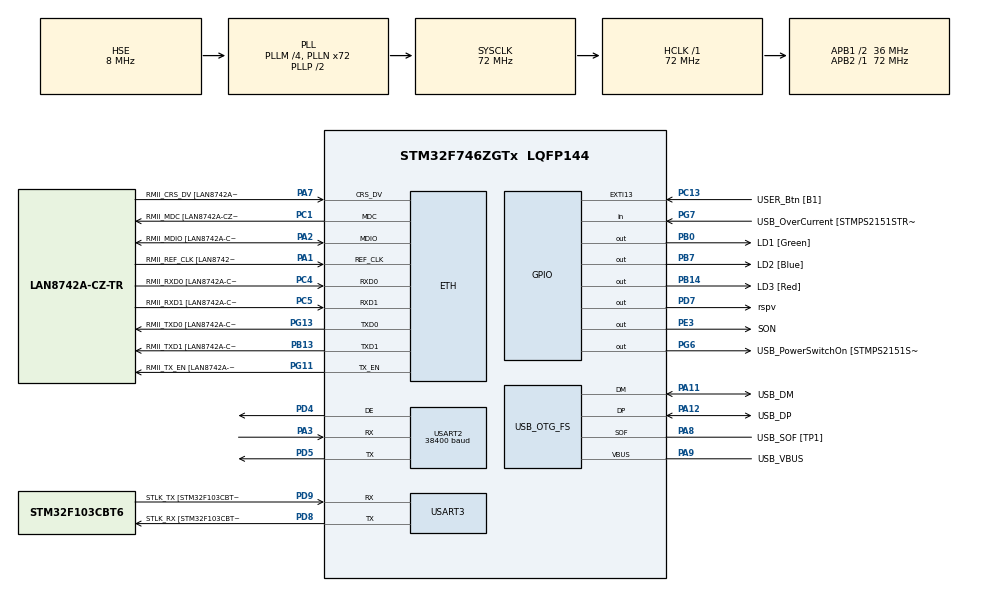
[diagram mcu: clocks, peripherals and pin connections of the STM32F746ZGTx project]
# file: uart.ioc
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Dma.Request0=USART2_RX
Dma.Request1=USART2_TX
Dma.USART2_RX.0.Direction=DMA_PERIPH_TO_MEMORY
Dma.USART2_RX.0.FIFOMode=DMA_FIFOMODE_DISABLE
Dma.USART2_RX.0.Instance=DMA1_Stream5
Dma.USART2_RX.0.MemDataAlignment=DMA_MDATAALIGN_BYTE
Dma.USART2_RX.0.MemInc=DMA_MINC_ENABLE
Dma.USART2_RX.0.Mode=DMA_NORMAL
Dma.USART2_RX.0.PeriphDataAlignment=DMA_PDATAALIGN_BYTE
Dma.USART2_RX.0.PeriphInc=DMA_PINC_DISABLE
Dma.USART2_RX.0.Priority=DMA_PRIORITY_LOW
Dma.USART2_TX.1.Direction=DMA_MEMORY_TO_PERIPH
Dma.USART2_TX.1.FIFOMode=DMA_FIFOMODE_DISABLE
Dma.USART2_TX.1.Instance=DMA1_Stream6
Dma.USART2_TX.1.MemDataAlignment=DMA_MDATAALIGN_BYTE
Dma.USART2_TX.1.MemInc=DMA_MINC_ENABLE
Dma.USART2_TX.1.Mode=DMA_NORMAL
Dma.USART2_TX.1.PeriphDataAlignment=DMA_PDATAALIGN_BYTE
Dma.USART2_TX.1.PeriphInc=DMA_PINC_DISABLE
Dma.USART2_TX.1.Priority=DMA_PRIORITY_LOW
ETH.MediaInterface=ETH_MEDIA_INTERFACE_RMII
ETH.PHY_Name=LAN8742A_PHY_ADDRESS
ETH.PHY_Value=0
ETH.PhyAddress=0
Mcu.Family=STM32F7
Mcu.Name=STM32F746ZGTx
Mcu.Package=LQFP144
NVIC.DMA1_Stream5_IRQn=true\:0\:0\:false\:false\:true\:false\:true
NVIC.DMA1_Stream6_IRQn=true\:0\:0\:false\:false\:true\:false\:true
NVIC.EXTI15_10_IRQn=true\:0\:0\:false\:false\:true\:true\:true
NVIC.PriorityGroup=NVIC_PRIORITYGROUP_4
NVIC.USART2_IRQn=true\:0\:0\:false\:false\:true\:true\:true
PA1.GPIO_Label=RMII_REF_CLK [LAN8742A-CZ-TR_REFCLK0]
PA1.Mode=RMII
PA1.Signal=ETH_REF_CLK
PA10.GPIO_Label=USB_ID
PA10.Signal=USB_OTG_FS_ID
PA11.GPIO_Label=USB_DM
PA11.Mode=Device_Only
PA11.Signal=USB_OTG_FS_DM
PA12.GPIO_Label=USB_DP
PA12.Mode=Device_Only
PA12.Signal=USB_OTG_FS_DP
PA13.GPIO_Label=TMS
PA13.Mode=Serial_Wire
PA13.Signal=SYS_JTMS-SWDIO
PA14.GPIO_Label=TCK
PA14.Mode=Serial_Wire
PA14.Signal=SYS_JTCK-SWCLK
PA2.GPIO_Label=RMII_MDIO [LAN8742A-CZ-TR_MDIO]
PA2.Mode=RMII
PA2.Signal=ETH_MDIO
PA3.Mode=Asynchronous
PA3.Signal=USART2_RX
PA7.GPIO_Label=RMII_CRS_DV [LAN8742A-CZ-TR_CRS_DV]
PA7.Mode=RMII
PA7.Signal=ETH_CRS_DV
PA8.GPIO_Label=USB_SOF [TP1]
PA8.Mode=Activate_SOF_FS
PA8.Signal=USB_OTG_FS_SOF
PA9.GPIO_Label=USB_VBUS
PA9.Mode=Activate_VBUS
PA9.Signal=USB_OTG_FS_VBUS
PB0.GPIO_Label=LD1 [Green]
PB0.Signal=GPIO_Output
PB13.GPIO_Label=RMII_TXD1 [LAN8742A-CZ-TR_TXD1]
PB13.Mode=RMII
PB13.Signal=ETH_TXD1
PB14.GPIO_Label=LD3 [Red]
PB14.Signal=GPIO_Output
PB3.GPIO_Label=SW0
PB3.Signal=SYS_JTDO-SWO
PB7.GPIO_Label=LD2 [Blue]
PB7.Signal=GPIO_Output
PC1.GPIO_Label=RMII_MDC [LAN8742A-CZ-TR_MDC]
PC1.Mode=RMII
PC1.Signal=ETH_MDC
PC13.GPIO_Label=USER_Btn [B1]
PC13.Signal=GPXTI13
PC14/OSC32_IN.Mode=LSE-External-Oscillator
PC14/OSC32_IN.Signal=RCC_OSC32_IN
PC15/OSC32_OUT.Mode=LSE-External-Oscillator
PC15/OSC32_OUT.Signal=RCC_OSC32_OUT
PC4.GPIO_Label=RMII_RXD0 [LAN8742A-CZ-TR_RXD0]
PC4.Mode=RMII
PC4.Signal=ETH_RXD0
PC5.GPIO_Label=RMII_RXD1 [LAN8742A-CZ-TR_RXD1]
PC5.Mode=RMII
PC5.Signal=ETH_RXD1
PD4.Mode=Hardware Flow Control (RS485)
PD4.Signal=USART2_DE
PD5.Mode=Asynchronous
PD5.Signal=USART2_TX
PD7.GPIO_Label=rspv
PD7.GPIO_PuPd=GPIO_PULLDOWN
PD7.Signal=GPIO_Output
PD8.GPIO_Label=STLK_RX [STM32F103CBT6_PA3]
PD8.Mode=Asynchronous
PD8.Signal=USART3_TX
PD9.GPIO_Label=STLK_TX [STM32F103CBT6_PA2]
PD9.Mode=Asynchronous
PD9.Signal=USART3_RX
PE3.GPIO_Label=SON
PE3.GPIO_PuPd=GPIO_PULLDOWN
PE3.Signal=GPIO_Output
PG11.GPIO_Label=RMII_TX_EN [LAN8742A-CZ-TR_TXEN]
PG11.Mode=RMII
PG11.Signal=ETH_TX_EN
PG13.GPIO_Label=RMII_TXD0 [LAN8742A-CZ-TR_TXD0]
PG13.Mode=RMII
PG13.Signal=ETH_TXD0
PG6.GPIO_Label=USB_PowerSwitchOn [STMPS2151STR_EN]
PG6.Signal=GPIO_Output
PG7.GPIO_Label=USB_OverCurrent [STMPS2151STR_FAULT]
PG7.Signal=GPIO_Input
PH0/OSC_IN.GPIO_Label=MCO [STM32F103CBT6_PA8]
PH0/OSC_IN.Mode=HSE-External-Clock-Source
PH0/OSC_IN.Signal=RCC_OSC_IN
PH1/OSC_OUT.Mode=HSE-External-Clock-Source
PH1/OSC_OUT.Signal=RCC_OSC_OUT
ProjectManager.HeapSize=0x200
ProjectManager.StackSize=0x400
ProjectManager.TargetToolchain=STM32CubeIDE
RCC.48MHZClocksFreq_Value=24000000
RCC.AHBFreq_Value=72000000
RCC.APB1CLKDivider=RCC_HCLK_DIV2
RCC.APB1Freq_Value=36000000
RCC.APB1TimFreq_Value=72000000
RCC.APB2Freq_Value=72000000
RCC.APB2TimFreq_Value=72000000
RCC.CortexFreq_Value=72000000
RCC.HCLKFreq_Value=72000000
RCC.HSE_VALUE=8000000
RCC.HSI_VALUE=16000000
RCC.PLLM=4
RCC.PLLMUL=RCC_PLL_MUL9
RCC.PLLN=72
RCC.PLLQ=3
RCC.PRESCALERUSB=RCC_USBCLKSOURCE_PLL_DIV1_5
RCC.SYSCLKFreq_VALUE=72000000
RCC.SYSCLKSource=RCC_SYSCLKSOURCE_PLLCLK
RCC.SYSCLKSourceVirtual=RCC_SYSCLKSOURCE_PLLCLK
RCC.USBFreq_Value=48000000
RCC.VCOOutputFreq_Value=144000000
USART2.BaudRate=38400
USART2.Parity=PARITY_NONE
USART2.VirtualMode-Asynchronous=VM_ASYNC
USART2.VirtualMode-Hardware\ Flow\ Control\ (RS485)=VM_ASYNC
USART3.VirtualMode-Asynchronous=VM_ASYNC
USB_OTG_FS.VirtualMode=Device_Only
board=NUCLEO-F746ZG

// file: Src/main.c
/* USER CODE BEGIN Header */
/**
  ******************************************************************************
  * @file           : main.c
  * @brief          : Main program body
  ******************************************************************************
  * @attention
  *
  * <h2><center>&copy; Copyright (c) 2021 STMicroelectronics.
  * All rights reserved.</center></h2>
  *
  * This software component is licensed by ST under BSD 3-Clause license,
  * the "License"; You may not use this file except in compliance with the
  * License. You may obtain a copy of the License at:
  *                        opensource.org/licenses/BSD-3-Clause
  *
  ******************************************************************************
  */
/* USER CODE END Header */
#include "main.h"

/* USER CODE BEGIN Includes */
#include "stdbool.h"
#include <stdio.h>
#include <stdint.h>
#include <string.h>
typedef uint16_t WORD;
typedef uint8_t BYTE;
#define MIN_SPEED_VAL 390
/* USER CODE END Includes */

ETH_HandleTypeDef heth;

UART_HandleTypeDef huart2;
UART_HandleTypeDef huart3;
DMA_HandleTypeDef hdma_usart2_rx;
DMA_HandleTypeDef hdma_usart2_tx;

PCD_HandleTypeDef hpcd_USB_OTG_FS;

void SystemClock_Config(void);
static void MX_GPIO_Init(void);
static void MX_DMA_Init(void);
static void MX_ETH_Init(void);
static void MX_USART2_UART_Init(void);
static void MX_USART3_UART_Init(void);
static void MX_USB_OTG_FS_PCD_Init(void);
/* USER CODE BEGIN PFP */
unsigned int CRC16_2(unsigned char* buf, int len);
void createMessage(unsigned char *buf, int w_r, int RegNum, int Rval, int val);
/* USER CODE END PFP */

int main(void)
{
	/* MCU Configuration--------------------------------------------------------*/

	/* Reset of all peripherals, Initializes the Flash interface and the Systick. */
	HAL_Init();

	/* Configure the system clock */
	SystemClock_Config();

	/* Initialize all configured peripherals */
	MX_GPIO_Init();
	MX_DMA_Init();
	//MX_ETH_Init();
	MX_USART2_UART_Init();
	MX_USART3_UART_Init();
	MX_USB_OTG_FS_PCD_Init();

	unsigned char msgRead[8];
	int i, brute, counter=0, counterError=0;

	uint8_t RxDat[7];
	uint8_t RxDat_w[8];
	uint8_t write_vals[50]={};
	uint16_t value_speed;
	HAL_GPIO_WritePin(rspv_GPIO_Port, rspv_Pin, GPIO_PIN_SET);

	//стоп
	//{ 0x01, 0x06, 0x01, 0x04, 0x00, 0x00 }
	//запуск
	//{ 0x01, 0x06, 0x01, 0x04, 0x00, 0x01 }

	//{ 0x01, 0x03, 0x01, 0x20, 0x00, 0x01 };
	//Чтение регистров Px-x.  Второй байт команда 03
	//{ 0x01, 0x03, 0x01, 0x03, 0x00, 0x01 }
	// 3й байт P№ ; 4й байт -"номер регистра"

	//Запись
	//2й байт команда записи 3й байт P№ ; 4й байт -"номер регистра" ; 5-6 значение
	//{ 0x01, 0x06, 0x01, 0x04, 0x00, 0x03 }

	//регистр Fn1 1281(dec) - 501(hex)
	//{ 0x01, 0x03, 0x05, 0x01, 0x00, 0x01 };

    while (1)
    {
    	HAL_GPIO_TogglePin(GPIOB,LD1_Pin);
    	unsigned int crc;
    	unsigned char crcmsg[8];

    	//Если есть сомнения в формировании отправленного сообщения
    	//    		unsigned char first, second;
    	//    		int i;
    	//
    	//    		unsigned char msg[] = { 0x01, 0x06, 0x01, 0x04, 0x00, 0x01 };
    	//    		size_t msg_size = sizeof(msg);
    	//
    	//    		crc = CRC16_2(msg, msg_size);
    	//
    	//    		for (i=0;i<6;i++){
    	//    			crcmsg[i]=msg[i];
    	//    		}
    	//    		first = (crc >> 0) & 0xff;
    	//    		second = (crc >> 8) & 0xff;
    	//    		crcmsg[6] = first;
    	//    		crcmsg[7] = second;
    	HAL_GPIO_WritePin(GPIOB,LD2_Pin, GPIO_PIN_RESET);
    	HAL_GPIO_WritePin(GPIOB,LD3_Pin, GPIO_PIN_RESET);

    	//запуск и остановка
		createMessage(crcmsg, 6, 1, 4 ,1);
		uint8_t* txdata = (uint8_t*)crcmsg;
		HAL_UART_Transmit_DMA(&huart2, (uint8_t*)txdata, 8);
		HAL_UART_Receive_DMA(&huart2, (uint8_t*)RxDat_w, 8);
		HAL_Delay(1000);
		createMessage(crcmsg, 6, 1, 4 ,0);
		HAL_UART_Transmit_DMA(&huart2, (uint8_t*)txdata, 8);
		HAL_UART_Receive_DMA(&huart2, (uint8_t*)RxDat_w, 8);
		HAL_Delay(4000);

		createMessage(crcmsg, 6, 2, 2 ,281); //изменение значения регистра p2-2
		HAL_UART_Transmit_DMA(&huart2, (uint8_t*)txdata, 8);
		HAL_UART_Receive_DMA(&huart2, (uint8_t*)RxDat_w, 8);
		HAL_Delay(1000);

		//запуск двигателя для проверки считывания скорости
		createMessage(crcmsg, 6, 1, 4 ,1);
		HAL_UART_Transmit_DMA(&huart2, (uint8_t*)txdata, 8);
		HAL_UART_Receive_DMA(&huart2, (uint8_t*)RxDat_w, 8);
		HAL_Delay(1000);

		createMessage(crcmsg, 3, 5, 8 ,1); //читаем регистр F8
		HAL_UART_Transmit_DMA(&huart2, (uint8_t*)txdata, 8);
		HAL_UART_Receive_DMA(&huart2, (uint8_t*)RxDat, 7);
		HAL_Delay(1000);

		value_speed = RxDat[3] << 8 | RxDat[4];

		//проверка вращения. У меня в f8 при движении двигателя устанавливается 400. Сравнивать со своим значением
		if (value_speed>=MIN_SPEED_VAL){
			for(i=0;i<10;i++){
				HAL_GPIO_TogglePin(GPIOB,LD2_Pin);
				HAL_Delay(500);}
		}
			printf("Hello_");
		HAL_Delay(10000);

		//проверка регистров P
		for (brute=0; brute<=12;brute++){
			if (brute==12){
				printf("%d", brute);
			}
			createMessage(crcmsg, 3, 1, brute ,1);
			HAL_UART_Transmit_DMA(&huart2, (uint8_t*)txdata, 8);
			HAL_UART_Receive_DMA(&huart2, (uint8_t*)RxDat, 7);
			HAL_Delay(500);
			//если пришел правильный ответ
			if (RxDat[0]==1 && RxDat[1]==3){
//				HAL_GPIO_TogglePin(GPIOB,LD3_Pin);
//				HAL_Delay(100);
				write_vals[brute]=RxDat[4];
				}
			//если пришел ответ правильный, но сдвинутый на 1 байт
			else if (RxDat[0]==247 && RxDat[0]==1){
				//uint8_t* subRxDat = RxDat + 1;
				uint8_t subRxDat[8];
				for(i = 0; i < 8; i++) {
					subRxDat[i] = RxDat[i+1];
					}
				if (subRxDat[0]==1 && subRxDat[1]==3){
//					HAL_GPIO_TogglePin(GPIOB,LD3_Pin);
//					HAL_Delay(100);
//					HAL_GPIO_TogglePin(GPIOB,LD3_Pin);
					write_vals[brute]=subRxDat[4];
					}
				else {
//					HAL_GPIO_WritePin(GPIOB,LD3_Pin, GPIO_PIN_SET);
//					HAL_Delay(2000);
					write_vals[brute]=-1;
					counterError++;
					}
				}

			}

    }
  /* USER CODE END 3 */
}

void SystemClock_Config(void)
{
  RCC_OscInitTypeDef RCC_OscInitStruct = {0};
  RCC_ClkInitTypeDef RCC_ClkInitStruct = {0};
  RCC_PeriphCLKInitTypeDef PeriphClkInitStruct = {0};

  /** Configure LSE Drive Capability
  */
  HAL_PWR_EnableBkUpAccess();
  /** Configure the main internal regulator output voltage
  */
  __HAL_RCC_PWR_CLK_ENABLE();
  __HAL_PWR_VOLTAGESCALING_CONFIG(PWR_REGULATOR_VOLTAGE_SCALE3);
  /** Initializes the RCC Oscillators according to the specified parameters
  * in the RCC_OscInitTypeDef structure.
  */
  RCC_OscInitStruct.OscillatorType = RCC_OSCILLATORTYPE_HSE;
  RCC_OscInitStruct.HSEState = RCC_HSE_BYPASS;
  RCC_OscInitStruct.PLL.PLLState = RCC_PLL_ON;
  RCC_OscInitStruct.PLL.PLLSource = RCC_PLLSOURCE_HSE;
  RCC_OscInitStruct.PLL.PLLM = 4;
  RCC_OscInitStruct.PLL.PLLN = 72;
  RCC_OscInitStruct.PLL.PLLP = RCC_PLLP_DIV2;
  RCC_OscInitStruct.PLL.PLLQ = 3;
  if (HAL_RCC_OscConfig(&RCC_OscInitStruct) != HAL_OK)
  {
    Error_Handler();
  }
  /** Initializes the CPU, AHB and APB buses clocks
  */
  RCC_ClkInitStruct.ClockType = RCC_CLOCKTYPE_HCLK|RCC_CLOCKTYPE_SYSCLK
                              |RCC_CLOCKTYPE_PCLK1|RCC_CLOCKTYPE_PCLK2;
  RCC_ClkInitStruct.SYSCLKSource = RCC_SYSCLKSOURCE_PLLCLK;
  RCC_ClkInitStruct.AHBCLKDivider = RCC_SYSCLK_DIV1;
  RCC_ClkInitStruct.APB1CLKDivider = RCC_HCLK_DIV2;
  RCC_ClkInitStruct.APB2CLKDivider = RCC_HCLK_DIV1;

  if (HAL_RCC_ClockConfig(&RCC_ClkInitStruct, FLASH_LATENCY_7) != HAL_OK)
  {
    Error_Handler();
  }
  PeriphClkInitStruct.PeriphClockSelection = RCC_PERIPHCLK_USART2|RCC_PERIPHCLK_USART3
                              |RCC_PERIPHCLK_CLK48;
  PeriphClkInitStruct.Usart2ClockSelection = RCC_USART2CLKSOURCE_PCLK1;
  PeriphClkInitStruct.Usart3ClockSelection = RCC_USART3CLKSOURCE_PCLK1;
  PeriphClkInitStruct.Clk48ClockSelection = RCC_CLK48SOURCE_PLL;
  if (HAL_RCCEx_PeriphCLKConfig(&PeriphClkInitStruct) != HAL_OK)
  {
    Error_Handler();
  }
}

static void MX_ETH_Init(void)
{

  heth.Instance = ETH;
  heth.Init.AutoNegotiation = ETH_AUTONEGOTIATION_ENABLE;
  heth.Init.Speed = ETH_SPEED_100M;
  heth.Init.DuplexMode = ETH_MODE_FULLDUPLEX;
  heth.Init.PhyAddress = LAN8742A_PHY_ADDRESS;
  heth.Init.MACAddr[0] =   0x00;
  heth.Init.MACAddr[1] =   0x80;
  heth.Init.MACAddr[2] =   0xE1;
  heth.Init.MACAddr[3] =   0x00;
  heth.Init.MACAddr[4] =   0x00;
  heth.Init.MACAddr[5] =   0x00;
  heth.Init.RxMode = ETH_RXPOLLING_MODE;
  heth.Init.ChecksumMode = ETH_CHECKSUM_BY_HARDWARE;
  heth.Init.MediaInterface = ETH_MEDIA_INTERFACE_RMII;

  if (HAL_ETH_Init(&heth) != HAL_OK)
  {
    Error_Handler();
  }

}

static void MX_USART2_UART_Init(void)
{

  huart2.Instance = USART2;
  huart2.Init.BaudRate = 38400;
  huart2.Init.WordLength = UART_WORDLENGTH_8B;
  huart2.Init.StopBits = UART_STOPBITS_1;
  huart2.Init.Parity = UART_PARITY_NONE;
  huart2.Init.Mode = UART_MODE_TX_RX;
  huart2.Init.HwFlowCtl = UART_HWCONTROL_NONE;
  huart2.Init.OverSampling = UART_OVERSAMPLING_16;
  huart2.Init.OneBitSampling = UART_ONE_BIT_SAMPLE_DISABLE;
  huart2.AdvancedInit.AdvFeatureInit = UART_ADVFEATURE_NO_INIT;
  if (HAL_RS485Ex_Init(&huart2, UART_DE_POLARITY_HIGH, 0, 0) != HAL_OK)
  {
    Error_Handler();
  }

}

static void MX_USART3_UART_Init(void)
{

  huart3.Instance = USART3;
  huart3.Init.BaudRate = 115200;
  huart3.Init.WordLength = UART_WORDLENGTH_8B;
  huart3.Init.StopBits = UART_STOPBITS_1;
  huart3.Init.Parity = UART_PARITY_NONE;
  huart3.Init.Mode = UART_MODE_TX_RX;
  huart3.Init.HwFlowCtl = UART_HWCONTROL_NONE;
  huart3.Init.OverSampling = UART_OVERSAMPLING_16;
  huart3.Init.OneBitSampling = UART_ONE_BIT_SAMPLE_DISABLE;
  huart3.AdvancedInit.AdvFeatureInit = UART_ADVFEATURE_NO_INIT;
  if (HAL_UART_Init(&huart3) != HAL_OK)
  {
    Error_Handler();
  }

}

static void MX_USB_OTG_FS_PCD_Init(void)
{

  hpcd_USB_OTG_FS.Instance = USB_OTG_FS;
  hpcd_USB_OTG_FS.Init.dev_endpoints = 6;
  hpcd_USB_OTG_FS.Init.speed = PCD_SPEED_FULL;
  hpcd_USB_OTG_FS.Init.dma_enable = DISABLE;
  hpcd_USB_OTG_FS.Init.phy_itface = PCD_PHY_EMBEDDED;
  hpcd_USB_OTG_FS.Init.Sof_enable = ENABLE;
  hpcd_USB_OTG_FS.Init.low_power_enable = DISABLE;
  hpcd_USB_OTG_FS.Init.lpm_enable = DISABLE;
  hpcd_USB_OTG_FS.Init.vbus_sensing_enable = ENABLE;
  hpcd_USB_OTG_FS.Init.use_dedicated_ep1 = DISABLE;
  if (HAL_PCD_Init(&hpcd_USB_OTG_FS) != HAL_OK)
  {
    Error_Handler();
  }

}

static void MX_DMA_Init(void)
{

  /* DMA controller clock enable */
  __HAL_RCC_DMA1_CLK_ENABLE();

  /* DMA interrupt init */
  /* DMA1_Stream5_IRQn interrupt configuration */
  HAL_NVIC_SetPriority(DMA1_Stream5_IRQn, 0, 0);
  HAL_NVIC_EnableIRQ(DMA1_Stream5_IRQn);
  /* DMA1_Stream6_IRQn interrupt configuration */
  HAL_NVIC_SetPriority(DMA1_Stream6_IRQn, 0, 0);
  HAL_NVIC_EnableIRQ(DMA1_Stream6_IRQn);

}

static void MX_GPIO_Init(void)
{
  GPIO_InitTypeDef GPIO_InitStruct = {0};

  /* GPIO Ports Clock Enable */
  __HAL_RCC_GPIOE_CLK_ENABLE();
  __HAL_RCC_GPIOC_CLK_ENABLE();
  __HAL_RCC_GPIOH_CLK_ENABLE();
  __HAL_RCC_GPIOA_CLK_ENABLE();
  __HAL_RCC_GPIOB_CLK_ENABLE();
  __HAL_RCC_GPIOD_CLK_ENABLE();
  __HAL_RCC_GPIOG_CLK_ENABLE();

  /*Configure GPIO pin Output Level */
  HAL_GPIO_WritePin(SON_GPIO_Port, SON_Pin, GPIO_PIN_RESET);

  /*Configure GPIO pin Output Level */
  HAL_GPIO_WritePin(GPIOB, LD1_Pin|LD3_Pin|LD2_Pin, GPIO_PIN_RESET);

  /*Configure GPIO pin Output Level */
  HAL_GPIO_WritePin(USB_PowerSwitchOn_GPIO_Port, USB_PowerSwitchOn_Pin, GPIO_PIN_RESET);

  /*Configure GPIO pin Output Level */
  HAL_GPIO_WritePin(rspv_GPIO_Port, rspv_Pin, GPIO_PIN_RESET);

  /*Configure GPIO pin : SON_Pin */
  GPIO_InitStruct.Pin = SON_Pin;
  GPIO_InitStruct.Mode = GPIO_MODE_OUTPUT_PP;
  GPIO_InitStruct.Pull = GPIO_PULLDOWN;
  GPIO_InitStruct.Speed = GPIO_SPEED_FREQ_LOW;
  HAL_GPIO_Init(SON_GPIO_Port, &GPIO_InitStruct);

  /*Configure GPIO pin : USER_Btn_Pin */
  GPIO_InitStruct.Pin = USER_Btn_Pin;
  GPIO_InitStruct.Mode = GPIO_MODE_IT_RISING;
  GPIO_InitStruct.Pull = GPIO_NOPULL;
  HAL_GPIO_Init(USER_Btn_GPIO_Port, &GPIO_InitStruct);

  /*Configure GPIO pins : LD1_Pin LD3_Pin LD2_Pin */
  GPIO_InitStruct.Pin = LD1_Pin|LD3_Pin|LD2_Pin;
  GPIO_InitStruct.Mode = GPIO_MODE_OUTPUT_PP;
  GPIO_InitStruct.Pull = GPIO_NOPULL;
  GPIO_InitStruct.Speed = GPIO_SPEED_FREQ_LOW;
  HAL_GPIO_Init(GPIOB, &GPIO_InitStruct);

  /*Configure GPIO pin : USB_PowerSwitchOn_Pin */
  GPIO_InitStruct.Pin = USB_PowerSwitchOn_Pin;
  GPIO_InitStruct.Mode = GPIO_MODE_OUTPUT_PP;
  GPIO_InitStruct.Pull = GPIO_NOPULL;
  GPIO_InitStruct.Speed = GPIO_SPEED_FREQ_LOW;
  HAL_GPIO_Init(USB_PowerSwitchOn_GPIO_Port, &GPIO_InitStruct);

  /*Configure GPIO pin : USB_OverCurrent_Pin */
  GPIO_InitStruct.Pin = USB_OverCurrent_Pin;
  GPIO_InitStruct.Mode = GPIO_MODE_INPUT;
  GPIO_InitStruct.Pull = GPIO_NOPULL;
  HAL_GPIO_Init(USB_OverCurrent_GPIO_Port, &GPIO_InitStruct);

  /*Configure GPIO pin : rspv_Pin */
  GPIO_InitStruct.Pin = rspv_Pin;
  GPIO_InitStruct.Mode = GPIO_MODE_OUTPUT_PP;
  GPIO_InitStruct.Pull = GPIO_PULLDOWN;
  GPIO_InitStruct.Speed = GPIO_SPEED_FREQ_LOW;
  HAL_GPIO_Init(rspv_GPIO_Port, &GPIO_InitStruct);

  /* EXTI interrupt init*/
  HAL_NVIC_SetPriority(EXTI15_10_IRQn, 0, 0);
  HAL_NVIC_EnableIRQ(EXTI15_10_IRQn);

}

/* USER CODE BEGIN 4 */
unsigned int CRC16_2(unsigned char* buf, int len)
{
	unsigned int crc = 0xFFFF;
	for (int pos = 0; pos < len; pos++)
	{
		crc ^= (unsigned int)buf[pos];    // XOR byte into least sig. byte of crc

		for (int i = 8; i != 0; i--) {    // Loop over each bit
			if ((crc & 0x0001) != 0) {      // If the LSB is set
				crc >>= 1;                    // Shift right and XOR 0xA001
				crc ^= 0xA001;
			}
			else                            // Else LSB is not set
				crc >>= 1;                    // Just shift right
		}
	}

	return crc;
}

void createMessage(unsigned char *buf, int w_r, int RegNum, int Rval, int val){
	//buf буфер (массив с размером 8)
	//w_r для записи в задаваемый регистр устанавливаем 6, для чтения -3
	//RegNum старший байт регистра P|F
	//Rval младший байт регистра P|F
	//значение записываемое в указанный регистр в десятичной системе

	//createMessage(crcmsg, 6, 1, 4 ,1); запуск
	//createMessage(crcmsg, 6, 1, 4 ,0); остановка
	//createMessage(crcmsg, 6, 2, 2 ,281); изменение значения регистра p2-2
	int i;
	unsigned int crc;
	unsigned char first, second;
	uint8_t hbyte, lbyte;

	hbyte = val >> 8;
	lbyte = val & 0x00ff;
	unsigned char msg[] = { 0x01, w_r, RegNum, Rval, hbyte, lbyte };
	size_t msg_size = sizeof(msg);
	crc = CRC16_2(msg, msg_size);

	for (i=0;i<6;i++){
		buf[i]=msg[i];
	}
	first = (crc >> 0) & 0xff;
	second = (crc >> 8) & 0xff;
	buf[6] = first;
	buf[7] = second;

}

//void HAL_UART_RxCpltCallback(UART_HandleTypeDef *huart2)
//{
//
//	unsigned int crc;
//	unsigned char first, second;
//	int i;
//	crc=i;
//
//}

//void HAL_UART_TxCpltCallback(UART_HandleTypeDef *huart)
//{
//  /* Prevent unused argument(s) compilation warning */
//	unsigned int crc;
//	unsigned char first, second;
//	int i;
//	unsigned char crcmsg[8];
//	createMessage(crcmsg, 6, 1, 4 ,1);
//	uint8_t* txdata = (uint8_t*)crcmsg;
//	HAL_UART_Transmit_DMA(&huart2, (uint8_t*)txdata, 8);
//
//	HAL_UART_Receive_DMA(&huart2, (uint8_t*)RxDat_w, 8);
//	HAL_GPIO_TogglePin(GPIOB,LD3_Pin);
//  /* NOTE : This function should not be modified, when the callback is needed,
//            the HAL_UART_TxCpltCallback can be implemented in the user file.
//   */
//}
//void HAL_GPIO_EXTI_Callback (uint16_t GPIO_Pin){
//	unsigned char crcmsg[8];
//	createMessage(crcmsg, 3, 1, 4 ,1);
//	uint8_t* txdata = (uint8_t*)crcmsg;
//	HAL_UART_Transmit_DMA(&huart2, (uint8_t*)txdata, 8);
//	HAL_UART_Receive_DMA(&huart2, (uint8_t*)RxDat, 7);
//
//	if (RxDat[4]==0){
//		HAL_GPIO_TogglePin(GPIOB,LD2_Pin);
//		createMessage(crcmsg, 6, 1, 4 ,1);
////		HAL_UART_Transmit_DMA(&huart2, (uint8_t*)txdata, 8);
////
////		HAL_UART_Receive_DMA(&huart2, (uint8_t*)RxDat_w, 8);
//		HAL_GPIO_TogglePin(GPIOB,LD3_Pin);
//	}
//	else if (RxDat[4]==1){
//		HAL_GPIO_TogglePin(GPIOB,LD1_Pin);
////		createMessage(crcmsg, 6, 1, 4 ,0);
////		HAL_UART_Transmit_DMA(&huart2, (uint8_t*)txdata, 8);
////		HAL_UART_Receive_DMA(&huart2, (uint8_t*)RxDat_w, 8);
//
//	}
//
//}

//void HAL_UART_ErrorCallback(UART_HandleTypeDef *huart)
//{
//  /* Prevent unused argument(s) compilation warning */
//  UNUSED(huart);
//
//  /* NOTE : This function should not be modified, when the callback is needed,
//            the HAL_UART_ErrorCallback can be implemented in the user file.
//   */
//}

/* USER CODE END 4 */

void Error_Handler(void)
{
  __disable_irq();
  while (1)
  {
  }
}

/************************ (C) COPYRIGHT STMicroelectronics *****END OF FILE****/
